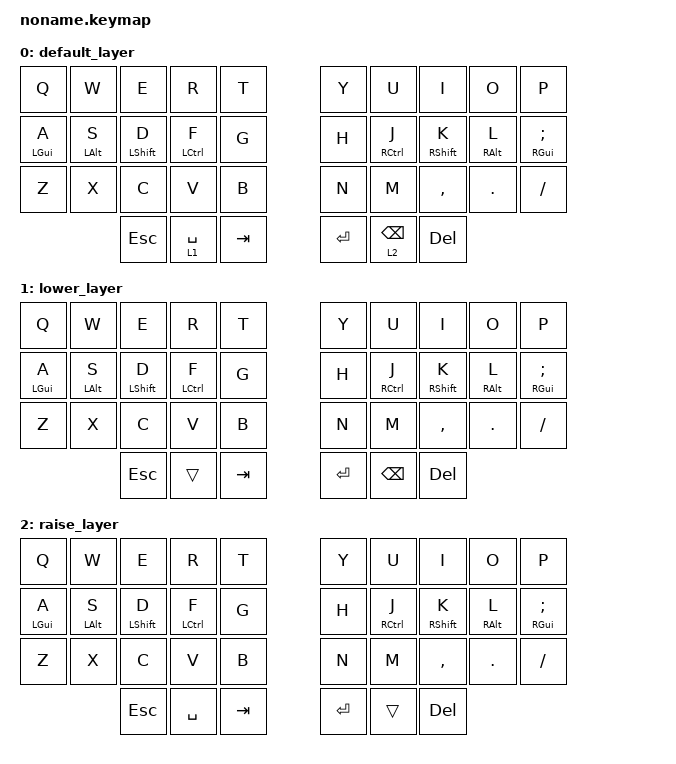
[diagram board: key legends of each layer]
/*
 * Copyright (c) 2020 The ZMK Contributors
 *
 * SPDX-License-Identifier: MIT
 */

#include <behaviors.dtsi>
#include <dt-bindings/zmk/keys.h>
#include <dt-bindings/zmk/bt.h>
#include <dt-bindings/zmk/rgb.h>

#define DEFAULT 0

/ {
    behaviors {
      hm: homerow_mods {
        compatible = "zmk,behavior-hold-tap";
        label = "HOMEROW_MODS";
        #binding-cells = <2>;
        tapping-term-ms = <150>;
        quick_tap_ms = <0>;
        flavor = "tap-preferred";
        bindings = <&kp>, <&kp>;
      };
    };
    keymap {
      compatible = "zmk,keymap";
      default_layer {
        bindings = <
          &kp Q      &kp W      &kp E       &kp R       &kp T           &kp Y     &kp U        &kp I       &kp O      &kp P
          &hm LGUI A &hm LALT S &hm LSHFT D &hm LCTRL F &kp G           &kp H     &hm RCTRL J  &hm RSHFT K &hm RALT L &hm RGUI SEMI
          &kp Z      &kp X      &kp C       &kp V       &kp B           &kp N     &kp M        &kp COMMA   &kp DOT    &kp FSLH
                                &kp ESC     &lt 1 SPACE &kp TAB         &kp ENTER &lt 2 BSPC   &kp DEL
        >;
      };
      lower_layer {
        bindings = <
          &kp Q      &kp W      &kp E       &kp R       &kp T           &kp Y     &kp U        &kp I       &kp O      &kp P
          &hm LGUI A &hm LALT S &hm LSHFT D &hm LCTRL F &kp G           &kp H     &hm RCTRL J  &hm RSHFT K &hm RALT L &hm RGUI SEMI
          &kp Z      &kp X      &kp C       &kp V       &kp B           &kp N     &kp M        &kp COMMA   &kp DOT    &kp FSLH
                                &kp ESC     &trans      &kp TAB         &kp ENTER &kp BSPC   &kp DEL
        >;
      };
      raise_layer {
        bindings = <
          &kp Q      &kp W      &kp E       &kp R       &kp T           &kp Y     &kp U        &kp I       &kp O      &kp P
          &hm LGUI A &hm LALT S &hm LSHFT D &hm LCTRL F &kp G           &kp H     &hm RCTRL J  &hm RSHFT K &hm RALT L &hm RGUI SEMI
          &kp Z      &kp X      &kp C       &kp V       &kp B           &kp N     &kp M        &kp COMMA   &kp DOT    &kp FSLH
                                &kp ESC     &kp SPACE   &kp TAB         &kp ENTER &trans       &kp DEL
        >;
      };
    };
};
